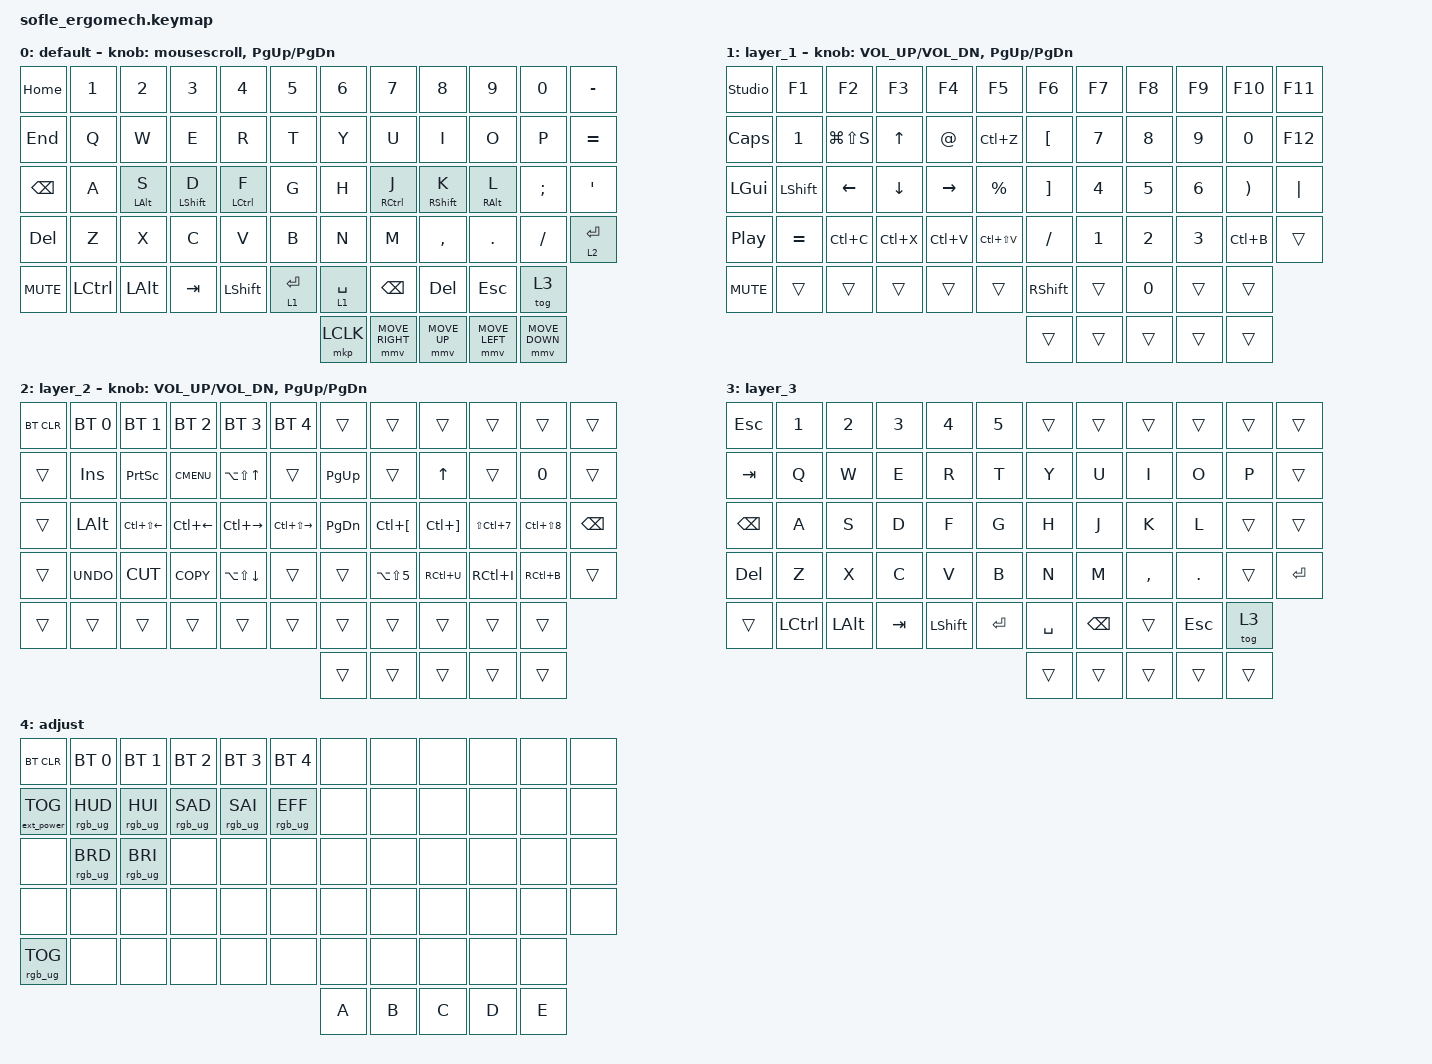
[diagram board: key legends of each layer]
/*
 * Copyright (c) 2020 The ZMK Contributors
 *
 * SPDX-License-Identifier: MIT
 */

#define ZMK_POINTING_DEFAULT_SCRL_VAL 300

#include <behaviors.dtsi>
#include <dt-bindings/zmk/bt.h>
#include <dt-bindings/zmk/ext_power.h>
#include <dt-bindings/zmk/keys.h>
#include <dt-bindings/zmk/pointing.h>
#include <dt-bindings/zmk/rgb.h>

#define layer_0 0
#define layer_1 1
#define layer_2 2
#define layer_3 3
#define ADJUST 4

/ {
    // Activate ADJUST layer by pressing raise and lower

    conditional_layers {
        compatible = "zmk,conditional-layers";

        adjust_layer {
            if-layers = <1 2>;
            then-layer = <4>;
        };
    };

    behaviors {
        mousescroll: mousescroll {
            compatible = "zmk,behavior-sensor-rotate";
            #sensor-binding-cells = <0>;
            bindings = <&msc SCRL_UP>, <&msc SCRL_DOWN>;

            tap-ms = <20>;
        };
    };

    keymap {
        compatible = "zmk,keymap";

        Layer_0 {
            label = "default";

            // ------------------------------------------------------------------------------------------------------------
            // |   `   |  1  |  2  |  3   |  4   |  5   |                   |  6   |  7    |  8    |  9   |   0   |       |
            // |  ESC  |  Q  |  W  |  E   |  R   |  T   |                   |  Y   |  U    |  I    |  O   |   P   | BKSPC |
            // |  TAB  |  A  |  S  |  D   |  F   |  G   |                   |  H   |  J    |  K    |  L   |   ;   |   '   |
            // | SHIFT |  Z  |  X  |  C   |  V   |  B   |  MUTE  |  |       |  N   |  M    |  ,    |  .   |   /   | SHIFT |
            //               | GUI | ALT  | CTRL | LOWER|  ENTER |  | SPACE | RAISE| CTRL  | ALT   | GUI  |

            bindings = <
&kp HOME       &kp N1     &kp N2          &kp N3            &kp N4              &kp N5        &kp N6       &kp N7               &kp N8             &kp N9           &kp N0          &kp MINUS
&kp END        &kp Q      &kp W           &kp E             &kp R               &kp T         &kp Y        &kp U                &kp I              &kp O            &kp P           &kp EQUAL
&kp BACKSPACE  &kp A      &mt LEFT_ALT S  &mt LEFT_SHIFT D  &mt LEFT_CONTROL F  &kp G         &kp H        &mt RIGHT_CONTROL J  &mt RIGHT_SHIFT K  &mt RIGHT_ALT L  &kp SEMI        &kp SQT
&kp DEL        &kp Z      &kp X           &kp C             &kp V               &kp B         &kp N        &kp M                &kp COMMA          &kp DOT          &kp FSLH        &lt 2 ENTER
&kp C_MUTE     &kp LCTRL  &kp LALT        &kp TAB           &kp LEFT_SHIFT      &lt 1 RETURN  &lt 1 SPACE  &kp BACKSPACE        &kp DEL            &kp ESCAPE       &tog 3
                                                                                              &mkp LCLK    &mmv MOVE_RIGHT      &mmv MOVE_UP       &mmv MOVE_LEFT   &mmv MOVE_DOWN
            >;

            sensor-bindings = <&mousescroll &inc_dec_kp PG_UP PG_DN>;
        };

        layer_1 {
            label = "layer_1";

            // TODO: Some binds are waiting for shifted keycode support.
            // ------------------------------------------------------------------------------------------------------------
            // |       |  F1 |  F2 |  F3  |  F4  |  F5  |                   |  F6  |  F7   |  F8   |  F9  |  F10  |  F11  |
            // |   `   |  1  |  2  |  3   |  4   |  5   |                   |  6   |  7    |  8    |  9   |   0   |  F12  |
            // |       |  !  |  @  |  #   |  $   |  %   |                   |  ^   |  &    |  *    |  (   |   )   |   |   |
            // |       |  =  |  -  |  +   |  {   |  }   |        |  |       |  [   |  ]    |  ;    |  :   |   \   |       |
            //               |     |      |      |      |        |  |       |      |       |       |      |

            bindings = <
&studio_unlock    &kp F1          &kp F2          &kp F3          &kp F4       &kp F5         &kp F6             &kp F7        &kp F8        &kp F9        &kp F10    &kp F11
&kp CAPS          &kp N1          &kp LG(LS(S))   &kp UP_ARROW    &kp AT_SIGN  &kp LC(Z)      &kp LEFT_BRACKET   &kp N7        &kp N8        &kp N9        &kp N0     &kp F12
&kp LEFT_GUI      &kp LEFT_SHIFT  &kp LEFT_ARROW  &kp DOWN_ARROW  &kp RIGHT    &kp PRCNT      &kp RIGHT_BRACKET  &kp NUMBER_4  &kp N5        &kp NUMBER_6  &kp RPAR   &kp PIPE
&kp C_PLAY_PAUSE  &kp EQUAL       &kp LC(C)       &kp LC(X)       &kp LC(V)    &kp LC(LS(V))  &kp SLASH          &kp NUMBER_1  &kp NUMBER_2  &kp NUMBER_3  &kp LC(B)  &trans
&kp C_MUTE        &trans          &trans          &trans          &trans       &trans         &kp RIGHT_SHIFT    &trans        &kp N0        &trans        &trans
                                                                                              &trans             &trans        &trans        &trans        &trans
            >;

            sensor-bindings = <&inc_dec_kp C_VOL_UP C_VOL_DN &inc_dec_kp PG_UP PG_DN>;
        };

        layer_2 {
            label = "layer_2";

            // ------------------------------------------------------------------------------------------------------------
            // | BTCLR | BT1  | BT2  |  BT3  |  BT4  |  BT5 |                |      |      |       |      |       |       |
            // |       | INS  | PSCR | GUI   |       |      |                | PGUP |      |   ^   |      |       |       |
            // |       | ALT  | CTRL | SHIFT |       | CAPS |                | PGDN |   <- |   v   |  ->  |  DEL  | BKSPC |
            // |       | UNDO | CUT  | COPY  | PASTE |      |      |  |      |      |      |       |      |       |       |
            //                |      |       |       |      |      |  |      |      |      |       |      |

            bindings = <
&bt BT_CLR  &bt BT_SEL 0  &bt BT_SEL 1      &bt BT_SEL 2        &bt BT_SEL 3          &bt BT_SEL 4       &trans     &trans                &trans                 &trans          &trans          &trans
&trans      &kp INS       &kp PSCRN         &kp K_CMENU         &kp LA(LS(UP_ARROW))  &trans             &kp PG_UP  &trans                &kp UP                 &trans          &kp N0          &trans
&trans      &kp LALT      &kp LC(LS(LEFT))  &kp LC(LEFT_ARROW)  &kp LC(RIGHT)         &kp LC(LS(RIGHT))  &kp PG_DN  &kp LC(LEFT_BRACKET)  &kp LC(RIGHT_BRACKET)  &kp LS(LC(N7))  &kp LC(LS(N8))  &kp BSPC
&trans      &kp K_UNDO    &kp K_CUT         &kp K_COPY          &kp LA(LS(DOWN))      &trans             &trans     &kp LA(LS(N5))        &kp RC(U)              &kp RC(I)       &kp RC(B)       &trans
&trans      &trans        &trans            &trans              &trans                &trans             &trans     &trans                &trans                 &trans          &trans
                                                                                                         &trans     &trans                &trans                 &trans          &trans
            >;

            sensor-bindings = <&inc_dec_kp C_VOL_UP C_VOL_DN &inc_dec_kp PG_UP PG_DN>;
        };

        Layer_3 {
            label = "layer_3";

            bindings = <
&kp ESC   &kp N1     &kp N2    &kp N3   &kp N4     &kp N5   &trans     &trans    &trans     &trans   &trans  &trans
&kp TAB   &kp Q      &kp W     &kp E    &kp R      &kp T    &kp Y      &kp U     &kp I      &kp O    &kp P   &trans
&kp BSPC  &kp A      &kp S     &kp D    &kp F      &kp G    &kp H      &kp J     &kp K      &kp L    &trans  &trans
&kp DEL   &kp Z      &kp X     &kp C    &kp V      &kp B    &kp N      &kp M     &kp COMMA  &kp DOT  &trans  &kp ENTER
&trans    &kp LCTRL  &kp LALT  &kp TAB  &kp LSHFT  &kp RET  &kp SPACE  &kp BSPC  &trans     &kp ESC  &tog 3
                                                            &trans     &trans    &trans     &trans   &trans
            >;
        };

        adjust_layer {
            // ----------------------------------------------------------------------------------------------------------------------------
            // | BTCLR  |  BT1    |  BT2    |   BT3   |   BT4   |   BT5   |                  |      |      |       |      |       |       |
            // | EXTPWR | RGB_HUD | RGB_HUI | RGB_SAD | RGB_SAI | RGB_EFF |                  |      |      |       |      |       |       |
            // |        | RGB_BRD | RGB_BRI |         |         |         |                  |      |      |       |      |       |       |
            // |        |         |         |         |         |         | RGB_TOG | |      |      |      |       |      |       |       |
            //                    |         |         |         |         |         | |      |      |      |       |      |

            label = "adjust";
            bindings = <
&bt BT_CLR         &bt BT_SEL 0     &bt BT_SEL 1     &bt BT_SEL 2     &bt BT_SEL 3     &bt BT_SEL 4     &none  &none  &none  &none  &none  &none
&ext_power EP_TOG  &rgb_ug RGB_HUD  &rgb_ug RGB_HUI  &rgb_ug RGB_SAD  &rgb_ug RGB_SAI  &rgb_ug RGB_EFF  &none  &none  &none  &none  &none  &none
&none              &rgb_ug RGB_BRD  &rgb_ug RGB_BRI  &none            &none            &none            &none  &none  &none  &none  &none  &none
&none              &none            &none            &none            &none            &none            &none  &none  &none  &none  &none  &none
&rgb_ug RGB_TOG    &none            &none            &none            &none            &none            &none  &none  &none  &none  &none
                                                                                                        &kp A  &kp B  &kp C  &kp D  &kp E
            >;
        };
    };
};
